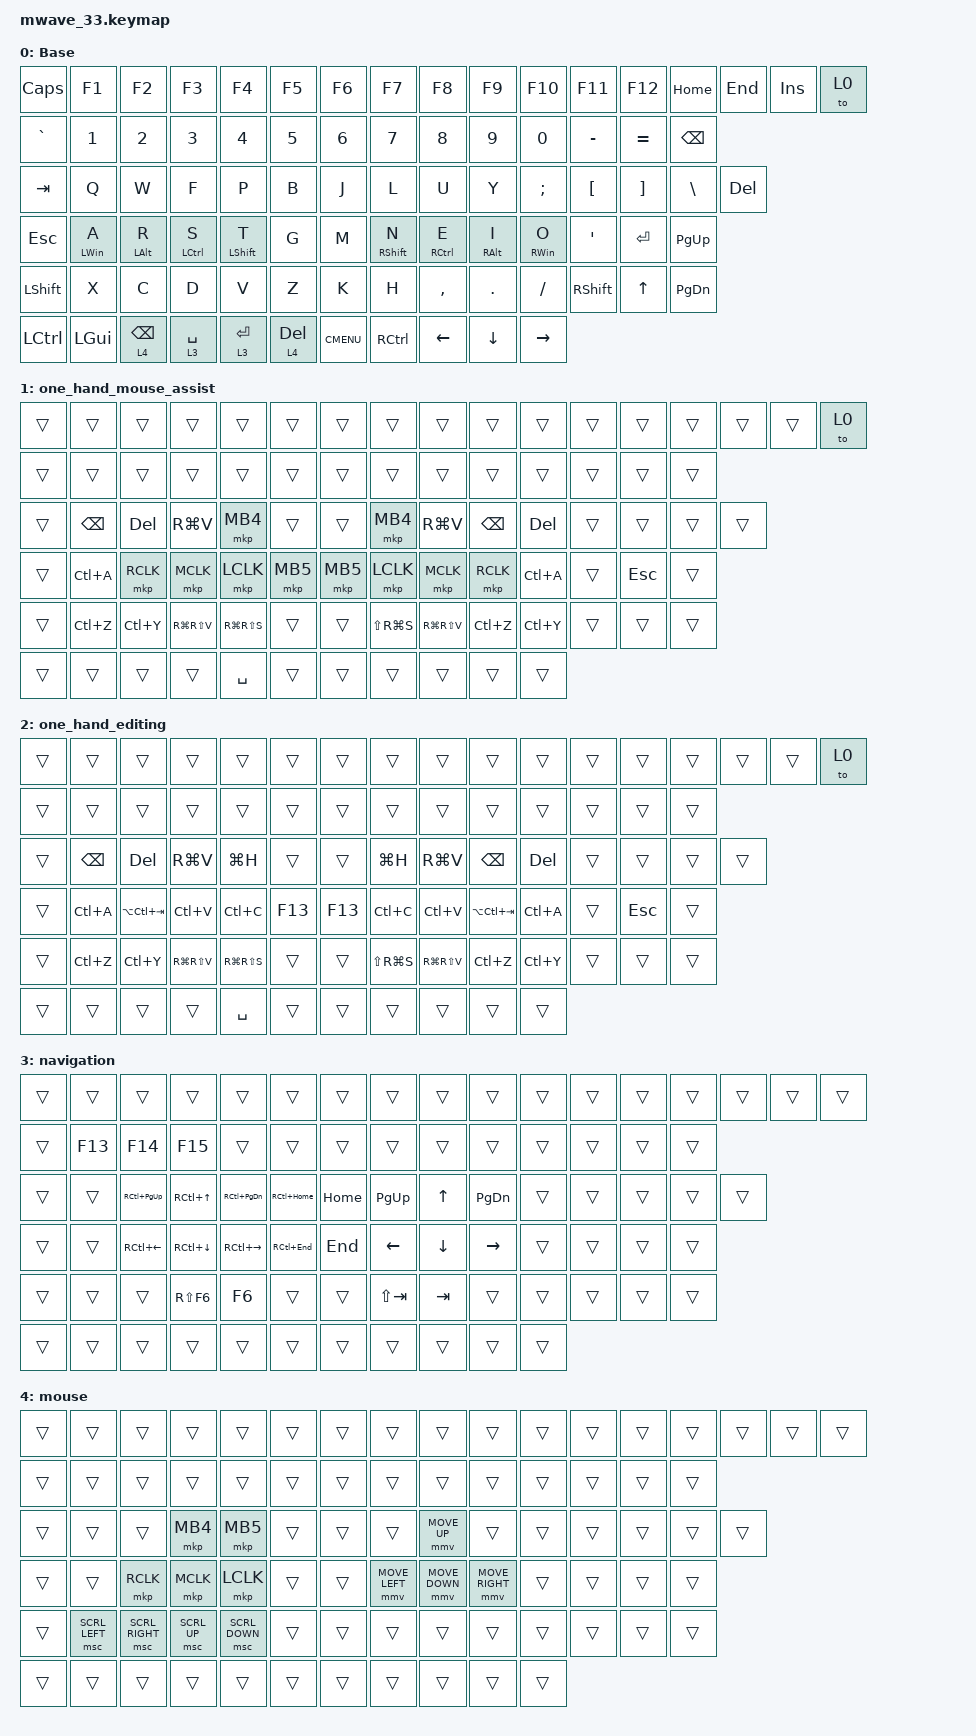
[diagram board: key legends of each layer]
#include <dt-bindings/advertising_mode.h>
#include <behaviors/advertising_mode.dtsi>
#include <behaviors/stp_indicators.dtsi>
#include <behaviors.dtsi>
#include <dt-bindings/zmk/keys.h>
#include <dt-bindings/zmk/pointing.h>
#include "studio-macros.dtsi"

/ {
    #include "mwave_prim.dtsi"

    combos {
        compatible = "zmk,combos";

        Esc {
            bindings = <&kp ESCAPE>;
            key-positions = <61 70>;
            layers = <0>;
        };

        Caps {
            bindings = <&caps_word>;
            key-positions = <62 69>;
            layers = <0>;
        };

        ShiftTap {
            bindings = <&kp LEFT_SHIFT>;
            key-positions = <50 53>;
            layers = <0>;
        };

        CtrlTap {
            bindings = <&kp LCTRL>;
            key-positions = <49 54>;
            layers = <0>;
        };

        AltTap {
            bindings = <&kp LEFT_ALT>;
            key-positions = <48 55>;
            layers = <0>;
        };

        WinTap {
            bindings = <&kp LEFT_WIN>;
            key-positions = <47 56>;
            layers = <0>;
        };

        switch_L {
            bindings = <&tog 2>;
            key-positions = <49 50 48>;
        };

        enter_L {
            bindings = <&kp RET>;
            key-positions = <77 76>;
        };

        switch_R {
            bindings = <&tog 2>;
            key-positions = <53 54 55>;
        };

        enter_R {
            bindings = <&kp RETURN>;
            key-positions = <78 79>;
        };

        R_VirtualDesktopRight {
            bindings = <&kp LC(LG(RIGHT))>;
            key-positions = <40 39>;
        };

        R_VirtualDesktopLeft {
            bindings = <&kp LC(LG(LEFT))>;
            key-positions = <38 39>;
        };

        L_VirtualDesktopRight {
            bindings = <&kp LC(LG(RIGHT))>;
            key-positions = <34 35>;
        };

        L_VirtualDesktopLeft {
            bindings = <&kp LC(LG(LEFT))>;
            key-positions = <33 34>;
        };

        L_mouse_assist {
            bindings = <&tog 1>;
            key-positions = <35 34 33>;
        };

        R_mouse_assist {
            bindings = <&tog 1>;
            key-positions = <38 39 40>;
        };
    };

    behaviors {
        hmr: hmr {
            compatible = "zmk,behavior-hold-tap";
            label = "HMR";
            bindings = <&kp>, <&kp>;

            #binding-cells = <2>;
            tapping-term-ms = <280>;
            hold-trigger-key-positions = <0 1 2 3 4 5 17 18 19 20 21 22 23 31 32 33 34 35 36 46 47 48 49 50 51 60 61 62 63 64 65 74 75 76 77 6 78>;
            flavor = "balanced";
            quick-tap-ms = <175>;
            hold-trigger-on-release;
        };

        hml: hml {
            compatible = "zmk,behavior-hold-tap";
            label = "HML";
            bindings = <&kp>, <&kp>;

            #binding-cells = <2>;
            tapping-term-ms = <280>;
            hold-trigger-key-positions = <78 77 7 8 9 10 11 12 13 14 15 16 24 25 26 27 28 29 30 37 38 39 40 41 42 43 44 45 52 53 54 55 56 57 58 59 66 67 68 69 70 71 72 73 78 79 80 81 82 83 84>;
            flavor = "balanced";
            quick-tap-ms = <175>;
            hold-trigger-on-release;
        };
    };

    keymap {
        compatible = "zmk,keymap";

        default_layer {
            display-name = "Base";

            // -------------------------------------------------------------------------------------------------------
            // | ESC | F1  | F2  | F3  | F4  | F5  | F6  | | F7  | F8  | F9  | F10 | F11 | F12 |HOME| END |PSCN|  1  |
            // |GRAVE|  1  |  2  |  3  |  4  |  5  |  6  | |   7   |  8  |  9  |  0  |  -  |  =  |    BKSP     | DEL |
            // | TAB    |  Q  |  W  |  E  |  R  |   T    | |   Y  |  U  |  I  |  O  |  P  |  [  |  ]  |   \    |     |
            // | CAPS     |  A  |  S  |  D  |  F  |  G   | |  H    |  J  |  K  |  L  |  ;  |  '  |    ENTER    | PGUP|
            // |   SHIFT   |  Z  |  X  |  C  |  V  |  B  | |    N    |  M  |  ,  |  .  |  /  |   SHIFT   | UP  | PGDN|
            // |  CTL  |  WIN  |  ALT  |      SPACE      | |      SPACE        | ALT | MENU |RCTRL| LEFT| DOWN |RIGHT|
            // -------------------------------------------------------------------------------------------------------

            bindings = <
&kp CAPSLOCK  &kp F1           &kp F2           &kp F3        &kp F4             &kp F5        &kp F6       &kp F7              &kp F8        &kp F9            &kp F10           &kp F11    &kp F12    &kp HOME   &kp END  &kp INSERT  &to 0
&kp GRAVE     &kp N1           &kp N2           &kp N3        &kp N4             &kp N5        &kp N6       &kp N7              &kp N8        &kp N9            &kp N0            &kp MINUS  &kp EQUAL  &kp BSPC
&kp TAB       &kp Q            &kp W            &kp F         &kp P              &kp B         &kp J        &kp L               &kp U         &kp Y             &kp SEMICOLON     &kp LBKT   &kp RBKT   &kp BSLH   &kp DEL
&kp ESCAPE    &hml LEFT_WIN A  &hml LEFT_ALT R  &hml LCTRL S  &hml LEFT_SHIFT T  &kp G         &kp M        &hmr RIGHT_SHIFT N  &hmr RCTRL E  &hmr RIGHT_ALT I  &hmr RIGHT_WIN O  &kp SQT    &kp RET    &kp PG_UP
&kp LSHFT     &kp X            &kp C            &kp D         &kp V              &kp Z         &kp K        &kp H               &kp COMMA     &kp DOT           &kp FSLH          &kp RSHFT  &kp UP     &kp PG_DN
&kp LCTRL     &kp LGUI         &lt 4 BACKSPACE  &lt 3 SPACE   &lt 3 ENTER        &lt 4 DELETE  &kp K_CMENU  &kp RCTRL           &kp LEFT      &kp DOWN          &kp RIGHT
            >;
        };

        one_hand_mouse_assist {
            bindings = <
&trans  &trans         &trans      &trans         &trans         &trans    &trans    &trans         &trans         &trans         &trans     &trans  &trans      &trans  &trans  &trans  &to 0
&trans  &trans         &trans      &trans         &trans         &trans    &trans    &trans         &trans         &trans         &trans     &trans  &trans      &trans
&trans  &kp BACKSPACE  &kp DELETE  &kp RG(V)      &mkp MB4       &trans    &trans    &mkp MB4       &kp RG(V)      &kp BACKSPACE  &kp DEL    &trans  &trans      &trans  &trans
&trans  &kp LC(A)      &mkp RCLK   &mkp MCLK      &mkp LCLK      &mkp MB5  &mkp MB5  &mkp LCLK      &mkp MCLK      &mkp RCLK      &kp LC(A)  &trans  &kp ESCAPE  &trans
&trans  &kp LC(Z)      &kp LC(Y)   &kp RG(RS(V))  &kp RG(RS(S))  &trans    &trans    &kp LS(RG(S))  &kp RG(RS(V))  &kp LC(Z)      &kp LC(Y)  &trans  &trans      &trans
&trans  &trans         &trans      &trans         &kp SPACE      &trans    &trans    &trans         &trans         &trans         &trans
            >;
        };

        one_hand_editing {
            bindings = <
&trans  &trans         &trans           &trans         &trans         &trans   &trans   &trans         &trans         &trans           &trans     &trans  &trans      &trans  &trans  &trans  &to 0
&trans  &trans         &trans           &trans         &trans         &trans   &trans   &trans         &trans         &trans           &trans     &trans  &trans      &trans
&trans  &kp BACKSPACE  &kp DELETE       &kp RG(V)      &kp LG(H)      &trans   &trans   &kp LG(H)      &kp RG(V)      &kp BACKSPACE    &kp DEL    &trans  &trans      &trans  &trans
&trans  &kp LC(A)      &kp LA(LC(TAB))  &kp LC(V)      &kp LC(C)      &kp F13  &kp F13  &kp LC(C)      &kp LC(V)      &kp LA(LC(TAB))  &kp LC(A)  &trans  &kp ESCAPE  &trans
&trans  &kp LC(Z)      &kp LC(Y)        &kp RG(RS(V))  &kp RG(RS(S))  &trans   &trans   &kp LS(RG(S))  &kp RG(RS(V))  &kp LC(Z)        &kp LC(Y)  &trans  &trans      &trans
&trans  &trans         &trans           &trans         &kp SPACE      &trans   &trans   &trans         &trans         &trans           &trans
            >;
        };

        navigation {
            bindings = <
&trans  &trans   &trans         &trans        &trans         &trans        &trans    &trans       &trans    &trans     &trans  &trans  &trans  &trans  &trans  &trans  &trans
&trans  &kp F13  &kp F14        &kp F15       &trans         &trans        &trans    &trans       &trans    &trans     &trans  &trans  &trans  &trans
&trans  &trans   &kp RC(PG_UP)  &kp RC(UP)    &kp RC(PG_DN)  &kp RC(HOME)  &kp HOME  &kp PG_UP    &kp UP    &kp PG_DN  &trans  &trans  &trans  &trans  &trans
&trans  &trans   &kp RC(LEFT)   &kp RC(DOWN)  &kp RC(RIGHT)  &kp RC(END)   &kp END   &kp LEFT     &kp DOWN  &kp RIGHT  &trans  &trans  &trans  &trans
&trans  &trans   &trans         &kp RS(F6)    &kp F6         &trans        &trans    &kp LS(TAB)  &kp TAB   &trans     &trans  &trans  &trans  &trans
&trans  &trans   &trans         &trans        &trans         &trans        &trans    &trans       &trans    &trans     &trans
            >;
        };

        mouse {
            bindings = <
&trans  &trans          &trans           &trans        &trans          &trans  &trans  &trans          &trans          &trans           &trans  &trans  &trans  &trans  &trans  &trans  &trans
&trans  &trans          &trans           &trans        &trans          &trans  &trans  &trans          &trans          &trans           &trans  &trans  &trans  &trans
&trans  &trans          &trans           &mkp MB4      &mkp MB5        &trans  &trans  &trans          &mmv MOVE_UP    &trans           &trans  &trans  &trans  &trans  &trans
&trans  &trans          &mkp RCLK        &mkp MCLK     &mkp LCLK       &trans  &trans  &mmv MOVE_LEFT  &mmv MOVE_DOWN  &mmv MOVE_RIGHT  &trans  &trans  &trans  &trans
&trans  &msc SCRL_LEFT  &msc SCRL_RIGHT  &msc SCRL_UP  &msc SCRL_DOWN  &trans  &trans  &trans          &trans          &trans           &trans  &trans  &trans  &trans
&trans  &trans          &trans           &trans        &trans          &trans  &trans  &trans          &trans          &trans           &trans
            >;
        };
    };
};
